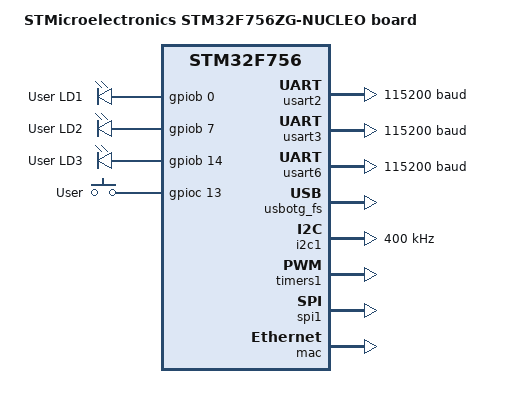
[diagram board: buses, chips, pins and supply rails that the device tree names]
/*
 * Copyright (c) 2018 AJ Palmer
 *
 * SPDX-License-Identifier: Apache-2.0
 */

/dts-v1/;
#include <st/f7/stm32f756Xg.dtsi>
#include "arduino_r3_connector.dtsi"

/ {
	model = "STMicroelectronics STM32F756ZG-NUCLEO board";
	compatible = "st,stm32f756zg-nucleo", "st,stm32f756";

	chosen {
		zephyr,console = &usart3;
		zephyr,shell-uart = &usart3;
		zephyr,sram = &sram0;
		zephyr,flash = &flash0;
		zephyr,dtcm = &dtcm;
	};

	leds {
		compatible = "gpio-leds";
		green_led: led_0 {
			gpios = <&gpiob 0 GPIO_ACTIVE_HIGH>;
			label = "User LD1";
		};
		blue_led: led_1 {
			gpios = <&gpiob 7 GPIO_ACTIVE_HIGH>;
			label = "User LD2";
		};
		red_led: led_2 {
			gpios = <&gpiob 14 GPIO_ACTIVE_HIGH>;
			label = "User LD3";
		};
	};

	gpio_keys {
		compatible = "gpio-keys";
		user_button: button_0 {
			label = "User";
			gpios = <&gpioc 13 GPIO_ACTIVE_HIGH>;
		};
	};

	aliases {
		led0 = &green_led;
		led1 = &blue_led;
		led2 = &red_led;
		sw0 = &user_button;
	};
};

&usart2 {
	current-speed = <115200>;
	status = "okay";
};

&usart3 {
	current-speed = <115200>;
	status = "okay";
};

&usart6 {
	current-speed = <115200>;
	status = "okay";
};

&usbotg_fs {
	status = "okay";
};

&i2c1 {
	status = "okay";
	clock-frequency = <I2C_BITRATE_FAST>;
};

&timers1 {
	status = "okay";

	pwm1: pwm {
		status = "okay";
	};
};

&spi1 {
	/*
	 * WARNING: The pin PA7 will conflict on selection of SPI_1 and
	 *          ETH_STM32_HAL. See pinmux.c for further details.
	 */
	status = "okay";
};

&mac {
	status = "okay";
};
